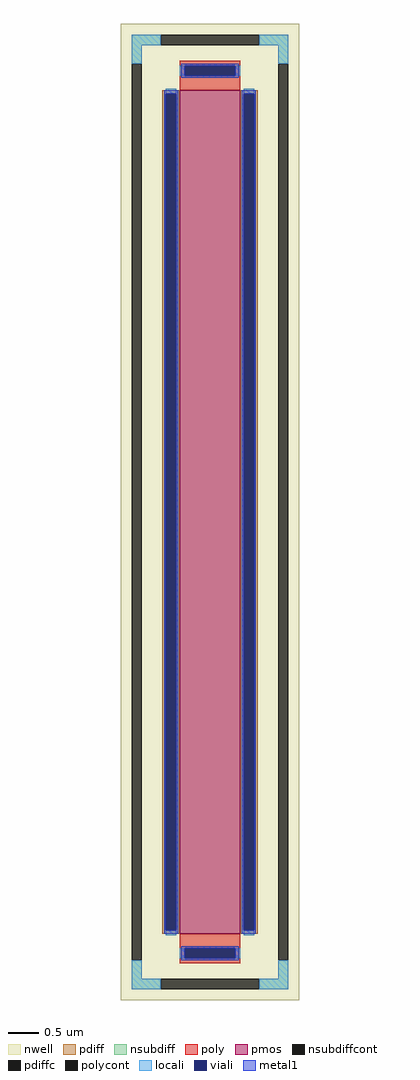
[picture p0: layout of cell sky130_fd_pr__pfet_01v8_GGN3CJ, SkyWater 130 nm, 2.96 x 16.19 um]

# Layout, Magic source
magic
tech sky130A
magscale 1 2
<< nwell >>
rect -296 -1619 296 1619
<< pmos >>
rect -100 -1400 100 1400
<< pdiff >>
rect -158 1388 -100 1400
rect -158 -1388 -146 1388
rect -112 -1388 -100 1388
rect -158 -1400 -100 -1388
rect 100 1388 158 1400
rect 100 -1388 112 1388
rect 146 -1388 158 1388
rect 100 -1400 158 -1388
<< pdiffc >>
rect -146 -1388 -112 1388
rect 112 -1388 146 1388
<< nsubdiff >>
rect -260 1549 -164 1583
rect 164 1549 260 1583
rect -260 1487 -226 1549
rect 226 1487 260 1549
rect -260 -1549 -226 -1487
rect 226 -1549 260 -1487
rect -260 -1583 -164 -1549
rect 164 -1583 260 -1549
<< nsubdiffcont >>
rect -164 1549 164 1583
rect -260 -1487 -226 1487
rect 226 -1487 260 1487
rect -164 -1583 164 -1549
<< poly >>
rect -100 1481 100 1497
rect -100 1447 -84 1481
rect 84 1447 100 1481
rect -100 1400 100 1447
rect -100 -1447 100 -1400
rect -100 -1481 -84 -1447
rect 84 -1481 100 -1447
rect -100 -1497 100 -1481
<< polycont >>
rect -84 1447 84 1481
rect -84 -1481 84 -1447
<< locali >>
rect -260 1549 -164 1583
rect 164 1549 260 1583
rect -260 1487 -226 1549
rect 226 1487 260 1549
rect -100 1447 -84 1481
rect 84 1447 100 1481
rect -146 1388 -112 1404
rect -146 -1404 -112 -1388
rect 112 1388 146 1404
rect 112 -1404 146 -1388
rect -100 -1481 -84 -1447
rect 84 -1481 100 -1447
rect -260 -1549 -226 -1487
rect 226 -1549 260 -1487
rect -260 -1583 -164 -1549
rect 164 -1583 260 -1549
<< viali >>
rect -84 1447 84 1481
rect -146 -1388 -112 1388
rect 112 -1388 146 1388
rect -84 -1481 84 -1447
<< metal1 >>
rect -96 1481 96 1487
rect -96 1447 -84 1481
rect 84 1447 96 1481
rect -96 1441 96 1447
rect -152 1388 -106 1400
rect -152 -1388 -146 1388
rect -112 -1388 -106 1388
rect -152 -1400 -106 -1388
rect 106 1388 152 1400
rect 106 -1388 112 1388
rect 146 -1388 152 1388
rect 106 -1400 152 -1388
rect -96 -1447 96 -1441
rect -96 -1481 -84 -1447
rect 84 -1481 96 -1447
rect -96 -1487 96 -1481
<< properties >>
string FIXED_BBOX -243 -1566 243 1566
string gencell sky130_fd_pr__pfet_01v8
string library sky130
string parameters w 14.0 l 1.0 m 1 nf 1 diffcov 100 polycov 100 guard 1 glc 1 grc 1 gtc 1 gbc 1 tbcov 100 rlcov 100 topc 1 botc 1 poverlap 0 doverlap 1 lmin 0.15 wmin 0.42 compatible {sky130_fd_pr__pfet_01v8  sky130_fd_pr__pfet_01v8_lvt sky130_fd_pr__pfet_01v8_hvt  sky130_fd_pr__pfet_g5v0d10v5} full_metal 1 viasrc 100 viadrn 100 viagate 100 viagb 0 viagr 0 viagl 0 viagt 0
<< end >>
